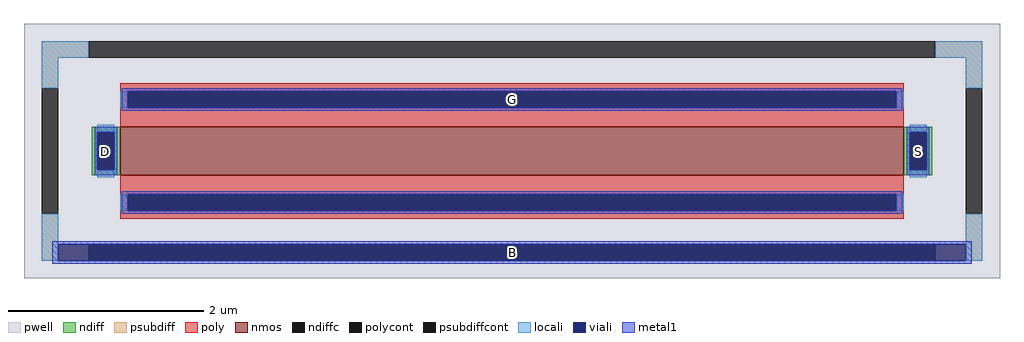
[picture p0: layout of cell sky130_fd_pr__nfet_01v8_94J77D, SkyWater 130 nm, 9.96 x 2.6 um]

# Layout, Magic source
magic
tech sky130A
magscale 1 2
<< pwell >>
rect -996 -260 996 260
<< nmos >>
rect -800 -50 800 50
<< ndiff >>
rect -858 38 -800 50
rect -858 -38 -846 38
rect -812 -38 -800 38
rect -858 -50 -800 -38
rect 800 38 858 50
rect 800 -38 812 38
rect 846 -38 858 38
rect 800 -50 858 -38
<< ndiffc >>
rect -846 -38 -812 38
rect 812 -38 846 38
<< psubdiff >>
rect -960 190 -864 224
rect 864 190 960 224
rect -960 128 -926 190
rect 926 128 960 190
rect -960 -190 -926 -128
rect 926 -190 960 -128
rect -960 -224 -864 -190
rect 864 -224 960 -190
<< psubdiffcont >>
rect -864 190 864 224
rect -960 -128 -926 128
rect 926 -128 960 128
rect -864 -224 864 -190
<< poly >>
rect -800 122 800 138
rect -800 88 -784 122
rect 784 88 800 122
rect -800 50 800 88
rect -800 -88 800 -50
rect -800 -122 -784 -88
rect 784 -122 800 -88
rect -800 -138 800 -122
<< polycont >>
rect -784 88 784 122
rect -784 -122 784 -88
<< locali >>
rect -960 190 -864 224
rect 864 190 960 224
rect -960 128 -926 190
rect 926 128 960 190
rect -800 88 -784 122
rect 784 88 800 122
rect -846 38 -812 54
rect -846 -54 -812 -38
rect 812 38 846 54
rect 812 -54 846 -38
rect -800 -122 -784 -88
rect 784 -122 800 -88
rect -960 -224 -926 -128
rect 926 -224 960 -128
<< viali >>
rect -784 88 784 122
rect -846 -38 -812 38
rect 812 -38 846 38
rect -784 -122 784 -88
rect -926 -224 -864 -190
rect -864 -224 864 -190
rect 864 -224 926 -190
<< metal1 >>
rect -796 122 796 128
rect -796 88 -784 122
rect 784 88 796 122
rect -796 82 796 88
rect -852 38 -806 50
rect -852 -38 -846 38
rect -812 -38 -806 38
rect -852 -50 -806 -38
rect 806 38 852 50
rect 806 -38 812 38
rect 846 -38 852 38
rect 806 -50 852 -38
rect -796 -88 796 -82
rect -796 -122 -784 -88
rect 784 -122 796 -88
rect -796 -128 796 -122
rect -938 -190 938 -184
rect -938 -224 -926 -190
rect 926 -224 938 -190
rect -938 -230 938 -224
<< labels >>
rlabel psubdiffcont 0 -207 0 -207 0 B
port 21 nsew
rlabel ndiffc -829 0 -829 0 0 D
port 22 nsew
rlabel ndiffc 829 0 829 0 0 S
port 23 nsew
rlabel polycont 0 105 0 105 0 G
port 24 nsew
<< properties >>
string FIXED_BBOX -943 -207 943 207
string gencell sky130_fd_pr__nfet_01v8
string library sky130
string parameters w 0.5 l 8.0 m 1 nf 1 diffcov 100 polycov 100 guard 1 glc 1 grc 1 gtc 1 gbc 1 tbcov 100 rlcov 100 topc 1 botc 1 poverlap 0 doverlap 1 lmin 0.15 wmin 0.42 class mosfet compatible {sky130_fd_pr__nfet_01v8 sky130_fd_pr__nfet_01v8_lvt  sky130_fd_bs_flash__special_sonosfet_star  sky130_fd_pr__nfet_g5v0d10v5 sky130_fd_pr__nfet_05v0_nvt  sky130_fd_pr__nfet_03v3_nvt} full_metal 1 conn_gates 0 viasrc 100 viadrn 100 viagate 100 viagb 100 viagr 0 viagl 0 viagt 0 doports 1
<< end >>
